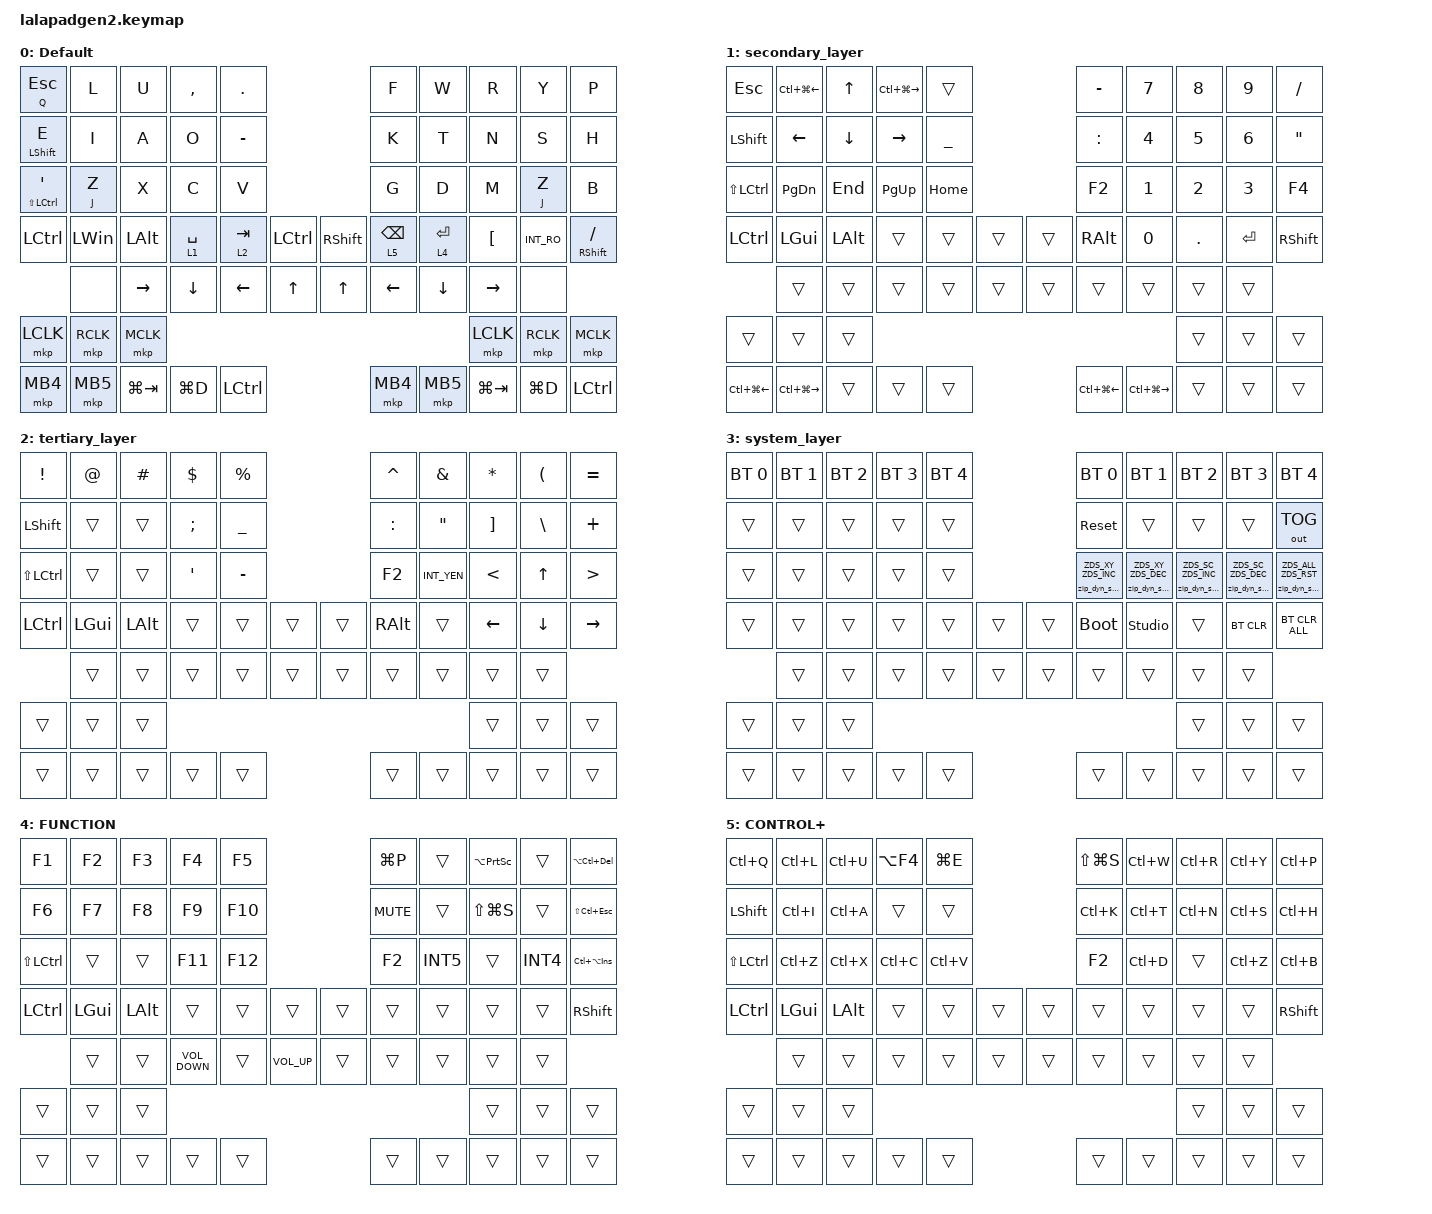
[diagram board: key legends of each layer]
#include <input/processors.dtsi>
#include <dt-bindings/zmk/zip_dynamic_scale.h>
#include <behaviors.dtsi>
#include <dt-bindings/zmk/bt.h>
#include <dt-bindings/zmk/keys.h>
#include <dt-bindings/zmk/outputs.h>
#include <dt-bindings/zmk/pointing.h>

#define DEFAULT_LAYER   0
#define SECONDARY_LAYER 1
#define TERTIARY_LAYER  2
#define SYSTEM_LAYER    3

&mt { quick-tap-ms = <200>; };

&lt { quick-tap-ms = <200>; };

/ {
    behaviors {
        zip_dyn_scale: zip_dyn_scale {
            compatible = "zmk,behavior-zip-dynamic-scale";
            #binding-cells = <2>;
        };

        zip_dyn_scale_set: zip_dyn_scale_set {
            compatible = "zmk,behavior-zip-dynamic-scale-set";
            #binding-cells = <2>;
        };

        mt2: mod_tap2 {
            compatible = "zmk,behavior-hold-tap";
            #binding-cells = <2>;
            flavor = "tap-preferred";
            tapping-term-ms = <200>;
            quick-tap-ms = <200>;
            require-prior-idle-ms = <125>;
            bindings = <&kp>, <&kp>;
        };

        tap_dance_layer_1and2: tap_dance_layer_1and2 {
            compatible = "zmk,behavior-tap-dance";
            label = "td_mo12";
            #binding-cells = <0>;
            bindings = <&mo 1>, <&mo 2>;
        };
    };

    combos {
        compatible = "zmk,combos";

        CONBO_ESC {
            bindings = <&kp ESCAPE>;
            key-positions = <0 1>;
        };

        COMBO_TAB {
            bindings = <&kp TAB>;
            key-positions = <10 11>;
        };

        zenkakuhankaku {
            bindings = <&kp GRAVE>;
            key-positions = <11 12>;
        };

        deletkye {
            bindings = <&kp DELETE>;
            key-positions = <8 7>;
        };

        CenterClick {
            bindings = <&mkp MB3>;
            key-positions = <16 17>;
        };

        RightClick {
            bindings = <&mkp MB2>;
            key-positions = <17 18>;
        };

        PrevClick {
            bindings = <&mkp MB4>;
            key-positions = <27 28>;
        };

        ClickNext {
            bindings = <&mkp MB5>;
            key-positions = <26 27>;
        };

        altTAB {
            bindings = <&kp LA(TAB)>;
            key-positions = <12 13>;
        };
    };

    keymap {
        compatible = "zmk,keymap";

        DEFAULT_LAYER {
            display-name = "Default";
            bindings = <
&mt Q ESCAPE                      &kp L      &kp U         &kp COMMA    &kp PERIOD                                     &kp F            &kp W        &kp R             &kp Y       &kp P
&mt LEFT_SHIFT E                  &kp I      &kp A         &kp O        &kp MINUS                                      &kp K            &kp T        &kp N             &kp S       &kp H
&mt2 LS(LEFT_CONTROL) APOSTROPHE  &mt J Z    &kp X         &kp C        &kp V                                          &kp G            &kp D        &kp M             &mt J Z     &kp B
&kp LCTRL                         &kp LWIN   &kp LEFT_ALT  &lt 1 SPACE  &lt 2 TAB   &kp LEFT_CONTROL  &kp RIGHT_SHIFT  &lt 5 BACKSPACE  &lt 4 ENTER  &kp LEFT_BRACKET  &kp INT_RO  &mt RIGHT_SHIFT SLASH
                                  &none      &kp RIGHT     &kp DOWN     &kp LEFT    &kp UP            &kp UP           &kp LEFT         &kp DOWN     &kp RIGHT         &none
&mkp LCLK                         &mkp RCLK  &mkp MCLK                                                                                               &mkp LCLK         &mkp RCLK   &mkp MCLK
&mkp MB4                          &mkp MB5   &kp LG(TAB)   &kp LG(D)    &kp LCTRL                                      &mkp MB4         &mkp MB5     &kp LG(TAB)       &kp LG(D)   &kp LCTRL
            >;
        };

        SECONDARY_LAYER {
            display-name = "secondary_layer";
            bindings = <
&kp ESCAPE            &kp LC(LG(LEFT))   &kp UP        &kp LC(LG(RIGHT))  &trans                          &kp MINUS         &kp N7             &kp N8        &kp N9        &kp SLASH
&kp LEFT_SHIFT        &kp LEFT_ARROW     &kp DOWN      &kp RIGHT          &kp UNDERSCORE                  &kp COLON         &kp NUMBER_4       &kp N5        &kp NUMBER_6  &kp DOUBLE_QUOTES
&kp LS(LEFT_CONTROL)  &kp PAGE_DOWN      &kp END       &kp PAGE_UP        &kp HOME                        &kp F2            &kp NUMBER_1       &kp NUMBER_2  &kp NUMBER_3  &kp F4
&kp LEFT_CONTROL      &kp LEFT_GUI       &kp LEFT_ALT  &trans             &trans          &trans  &trans  &kp RIGHT_ALT     &kp N0             &kp PERIOD    &kp ENTER     &kp RIGHT_SHIFT
                      &trans             &trans        &trans             &trans          &trans  &trans  &trans            &trans             &trans        &trans
&trans                &trans             &trans                                                                                                &trans        &trans        &trans
&kp LC(LG(LEFT))      &kp LC(LG(RIGHT))  &trans        &trans             &trans                          &kp LC(LG(LEFT))  &kp LC(LG(RIGHT))  &trans        &trans        &trans
            >;
        };

        TERTIARY_LAYER {
            display-name = "tertiary_layer";
            bindings = <
&kp EXCLAMATION       &kp AT_SIGN   &kp HASH      &kp DOLLAR      &kp PERCENT                  &kp CARET      &kp AMPERSAND      &kp ASTRK          &kp LEFT_PARENTHESIS  &kp EQUAL
&kp LEFT_SHIFT        &trans        &trans        &kp SEMI        &kp UNDER                    &kp COLON      &kp DOUBLE_QUOTES  &kp RIGHT_BRACKET  &kp BACKSLASH         &kp PLUS
&kp LS(LEFT_CONTROL)  &trans        &trans        &kp APOSTROPHE  &kp MINUS                    &kp F2         &kp INT_YEN        &kp LESS_THAN      &kp UP_ARROW          &kp GREATER_THAN
&kp LEFT_CONTROL      &kp LEFT_GUI  &kp LEFT_ALT  &trans          &trans       &trans  &trans  &kp RIGHT_ALT  &trans             &kp LEFT           &kp DOWN              &kp RIGHT
                      &trans        &trans        &trans          &trans       &trans  &trans  &trans         &trans             &trans             &trans
&trans                &trans        &trans                                                                                       &trans             &trans                &trans
&trans                &trans        &trans        &trans          &trans                       &trans         &trans             &trans             &trans                &trans
            >;
        };

        SYSTEM_LAYER {
            display-name = "system_layer";
            bindings = <
&bt BT_SEL 0  &bt BT_SEL 1  &bt BT_SEL 2  &bt BT_SEL 3  &bt BT_SEL 4                  &bt BT_SEL 0                   &bt BT_SEL 1                   &bt BT_SEL 2                   &bt BT_SEL 3                   &bt BT_SEL 4
&trans        &trans        &trans        &trans        &trans                        &sys_reset                     &trans                         &trans                         &trans                         &out OUT_TOG
&trans        &trans        &trans        &trans        &trans                        &zip_dyn_scale ZDS_XY ZDS_INC  &zip_dyn_scale ZDS_XY ZDS_DEC  &zip_dyn_scale ZDS_SC ZDS_INC  &zip_dyn_scale ZDS_SC ZDS_DEC  &zip_dyn_scale ZDS_ALL ZDS_RST
&trans        &trans        &trans        &trans        &trans        &trans  &trans  &bootloader                    &studio_unlock                 &trans                         &bt BT_CLR                     &bt BT_CLR_ALL
              &trans        &trans        &trans        &trans        &trans  &trans  &trans                         &trans                         &trans                         &trans
&trans        &trans        &trans                                                                                                                  &trans                         &trans                         &trans
&trans        &trans        &trans        &trans        &trans                        &trans                         &trans                         &trans                         &trans                         &trans
            >;
        };

        FUNCTION {
            bindings = <
&kp F1                &kp F2        &kp F3        &kp F4             &kp F5                            &kp LG(P)   &trans    &kp LA(PRINTSCREEN)  &trans    &kp LA(LC(DELETE))
&kp F6                &kp F7        &kp F8        &kp F9             &kp F10                           &kp C_MUTE  &trans    &kp LS(LG(S))        &trans    &kp LS(LC(ESCAPE))
&kp LS(LEFT_CONTROL)  &trans        &trans        &kp F11            &kp F12                           &kp F2      &kp INT5  &trans               &kp INT4  &kp LC(LA(INSERT))
&kp LEFT_CONTROL      &kp LEFT_GUI  &kp LEFT_ALT  &trans             &trans   &trans           &trans  &trans      &trans    &trans               &trans    &kp RIGHT_SHIFT
                      &trans        &trans        &kp C_VOLUME_DOWN  &trans   &kp C_VOLUME_UP  &trans  &trans      &trans    &trans               &trans
&trans                &trans        &trans                                                                                   &trans               &trans    &trans
&trans                &trans        &trans        &trans             &trans                            &trans      &trans    &trans               &trans    &trans
            >;
        };

        CONTROL+ {
            bindings = <
&kp LC(Q)             &kp LC(L)     &kp LC(U)     &kp LA(F4)  &kp LG(E)                  &kp LS(LG(S))  &kp LC(W)  &kp LC(R)  &kp LC(Y)  &kp LC(P)
&kp LEFT_SHIFT        &kp LC(I)     &kp LC(A)     &trans      &trans                     &kp LC(K)      &kp LC(T)  &kp LC(N)  &kp LC(S)  &kp LC(H)
&kp LS(LEFT_CONTROL)  &kp LC(Z)     &kp LC(X)     &kp LC(C)   &kp LC(V)                  &kp F2         &kp LC(D)  &trans     &kp LC(Z)  &kp LC(B)
&kp LEFT_CONTROL      &kp LEFT_GUI  &kp LEFT_ALT  &trans      &trans     &trans  &trans  &trans         &trans     &trans     &trans     &kp RIGHT_SHIFT
                      &trans        &trans        &trans      &trans     &trans  &trans  &trans         &trans     &trans     &trans
&trans                &trans        &trans                                                                         &trans     &trans     &trans
&trans                &trans        &trans        &trans      &trans                     &trans         &trans     &trans     &trans     &trans
            >;
        };
    };

    conditional_layers {
        compatible = "zmk,conditional-layers";

        Cond_Syslayer {
            if-layers = <1 2>;
            then-layer = <3>;
        };
    };
};
